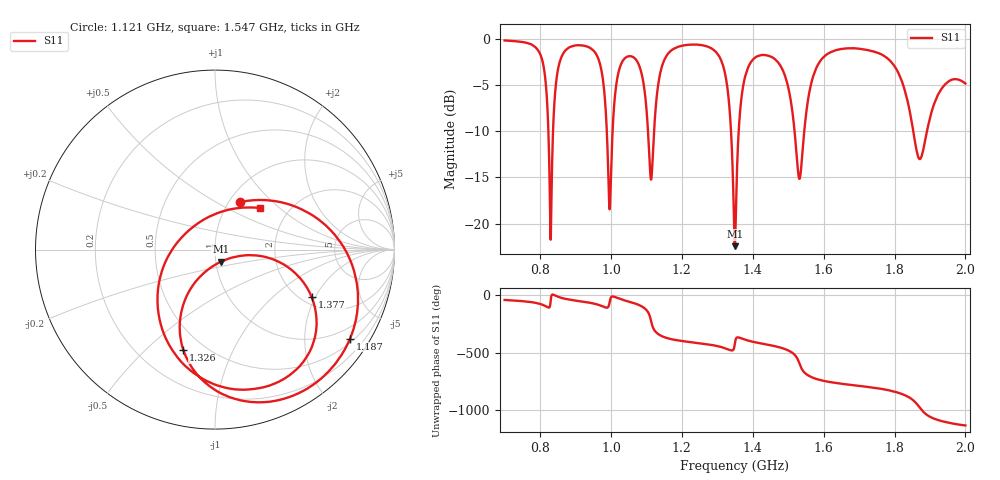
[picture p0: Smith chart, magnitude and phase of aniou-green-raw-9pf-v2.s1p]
!Keysight Technologies,P9371A,MY57212015,A.15.65.19
!Date: Tuesday, June 07, 2022 09:10:02
!Correction: S11(C  1-Port  )
!S1P File: Measurement: S11:
# Hz S  dB  R 50
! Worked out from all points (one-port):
!   2601 points, 700 MHz to 2 GHz, reference 50 ohm
!   lowest |S11| = -22.5 dB at 1.349 GHz (marker M1), VSWR 1.16, Z = 52.9 - j7.23 ohm
!   |S11| at or under -10 dB: 1.339 GHz to 1.36 GHz (21.64 MHz wide, 1.6 % of centre); 1.518 GHz to 1.545 GHz (27.39 MHz wide, 1.79 % of centre); 1.853 GHz to 1.892 GHz (38.71 MHz wide, 2.07 % of centre)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
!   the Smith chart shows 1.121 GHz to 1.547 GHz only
!   S11 on the Smith chart (normalised r, x): 1.121 GHz: 1.13, +0.66; 1.187 GHz: 0.61, -3.23; 1.326 GHz: 0.39, -0.66; 1.377 GHz: 2.26, -1.88; 1.547 GHz: 1.43, +0.75
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7e8  -0.18 -43.1
7.935e8  -1.20 -72.2
8.2e8  -6.90 -104.7
8.31e8  -20.24 -23.0
8.625e8  -1.79 -27.1
9.43e8  -1.03 -69.1
9.825e8  -6.29 -106.3
9.97e8  -18.28 -50.8
1.025e9  -3.12 -33.9
1.0785e9  -2.80 -86.3
1.1025e9  -8.77 -139.5
1.121e9  -10.46 61.9
1.1465e9  -2.67 -1.5
1.187e9  -0.91 -33.4
1.1875e9  -0.90 -33.6
1.326e9  -4.63 -107.5
1.3495e9  -22.45 -64.5
1.35e9  -22.29 -54.1
1.3765e9  -4.42 -26.2
1.455e9  -2.01 -79.4
1.5125e9  -8.07 -143.8
1.547e9  -9.39 43.1
1.5895e9  -2.46 -18.2
1.675e9  -1.03 -60.5
1.773e9  -1.91 -101.1
1.8375e9  -6.85 -162.8
1.9175e9  -6.49 -0.8
2e9  -4.84 -53.3
